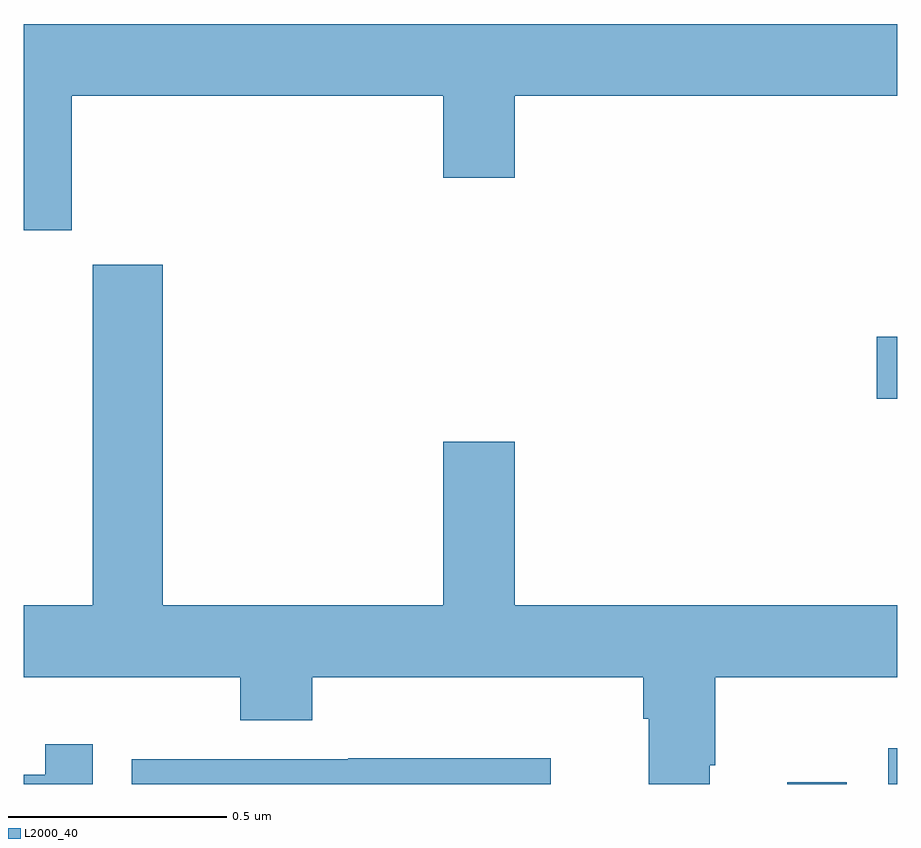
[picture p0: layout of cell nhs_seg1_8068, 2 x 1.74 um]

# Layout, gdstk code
import gdstk
lib = gdstk.Library(unit=1e-6, precision=1e-09)
def R(c, l, rs):  # rectangles x0, y0, x1, y1
    for r in rs: c.add(gdstk.rectangle(r[:2], r[2:], *l))
def P(c, l, *ps):  # polygons
    for p in ps: c.add(gdstk.Polygon(p, *l))
L2000_40 = (2000, 40)

nhs_seg1_8068 = lib.new_cell('nhs_seg1_8068')
R(nhs_seg1_8068, L2000_40, [(213.749,506.199,213.885,506.203), (213.98,506.199,214,506.281), (213.954,507.082,214,507.224)])
P(nhs_seg1_8068, L2000_40, [(212.11,507.776),(212.96,507.776),(212.96,507.588),(213.124,507.588),(213.124,507.776),(214,507.776),(214,507.94),(212,507.94),(212,507.467),(212.11,507.467)],
  [(213.419,506.348),(213.431,506.348),(213.431,506.199),(213.571,506.199),(213.571,506.242),(213.584,506.242),(213.584,506.444),(214,506.444),(214,506.608),(213.124,506.608),(213.124,506.983),(212.96,506.983),(212.96,506.608),(212.318,506.608),(212.318,507.388),(212.158,507.388),(212.158,506.608),(212,506.608),(212,506.444),(212.495,506.444),(212.495,506.345),(212.66,506.345),(212.66,506.444),(213.419,506.444)],
  [(212.157,506.29),(212.049,506.29),(212.049,506.22),(212,506.22),(212,506.199),(212.157,506.199)],
  [(213.207,506.258),(212.743,506.258),(212.743,506.256),(212.247,506.256),(212.247,506.199),(213.207,506.199)])

lib.write_gds('nhs_seg1_8068.gds')
